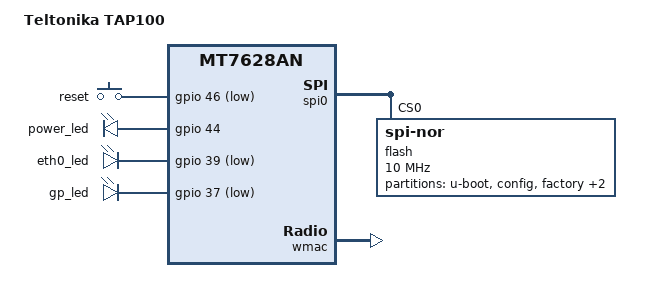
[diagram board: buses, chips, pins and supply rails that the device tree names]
// SPDX-License-Identifier: GPL-2.0-or-later OR MIT
/dts-v1/;

#include <dt-bindings/input/input.h>
#include <dt-bindings/gpio/gpio.h>
#include "mt7628an.dtsi"
#include "platform_name.dtsi"

/ {
	compatible = "teltonika,tap100", "mediatek,mt7628an-soc";
	model = "Teltonika TAP100";

	chosen {
		bootargs = "console=ttyS0,115200 root=/dev/mtdblock5";
	};

	reserved-memory {
		#address-cells = <1>;
		#size-cells = <1>;
		ranges;

		/delete-node/ ramoops@7f00000;

		ramoops_reserved: ramoops1@3f00000 {
			compatible = "ramoops";
			reg = <0x3f00000 0x10000>;
			record-size = <0x2000>;
			console-size = <0x3800>;
			pmsg-size = <0x800>;
		};
	};

	keys {
		compatible = "gpio-keys";

		reset {
			label = "reset";
			gpios = <&gpio 46 GPIO_ACTIVE_LOW>;
			linux,code = <KEY_RESTART>;
		};
	};

	leds {
		compatible = "gpio-leds";

		power_led {
			label = "power_led";
			linux,default-trigger = "timer";
			gpios = <&gpio 44 GPIO_ACTIVE_HIGH>;
		};

		eth0_led {
			label = "eth0_led";
			gpios = <&gpio 39 GPIO_ACTIVE_LOW>;
		};

		gp_led {
			label = "gp_led";
			gpios = <&gpio 37 GPIO_ACTIVE_LOW>;
		};
	};

	tlt_gpios { // Modify according to wiki page "DTS syntax with Libgpiod changes"
		gpiochip_info {
			hw_0 {
				hwver = <0>;
				gpiochip_count = <3>;

				gpiochip_0 = <32>; // Built-in
				gpiochip_1 = <32>; // Built-in
				gpiochip_2 = <32>; // Built-in
			};
		};
	};
};

&state_default {
	gpio {
		groups = "i2s", "uart1", "p4led_an", "p3led_an", "p2led_an", "p1led_an", "p0led_an", "gpio", "wled_an", "perst";
		function = "gpio";
	};
};

&spi0 {
	status = "okay";

	flash@0 {
		compatible = "jedec,spi-nor";
		reg = <0>;
		spi-max-frequency = <10000000>;

		partitions {
			compatible = "fixed-partitions";
			#address-cells = <1>;
			#size-cells = <1>;

			boot: partition@0 {
				label = "u-boot";
				reg = <0x0 0x20000>;
				read-only;
			};

			config: partition@20000 {
				compatible = "nvmem-cells";
				#address-cells = <1>;
				#size-cells = <1>;

				label = "config";
				reg = <0x020000 0x010000>;
				read-only;

				macaddr_config_0: macaddr@0 {
					reg = <0x0 0x6>;
				};
			};

			factory: partition@30000 {
				label = "factory";
				reg = <0x030000 0x030000>;
				read-only;
			};

			partition@60000 {
				compatible = "denx,uimage";
				label = "firmware";
				reg = <0x060000 0xf10000>;
			};

			partition@f70000 {
				label = "event-log";
				reg = <0xf70000 0x90000>;
			};
		};
	};
};

&wmac {
	status = "okay";
	nvmem-cells = <&macaddr_config_0>;
	nvmem-cell-names = "mac-address";
	mac-address-increment = <2>;
	mediatek,mtd-eeprom = <&factory 0x20000>;
};

&ethernet {
	nvmem-cells = <&macaddr_config_0>;
	nvmem-cell-names = "mac-address";
};

&mnfinfo {
	/delete-node/ mob_vidpid_1;
};
